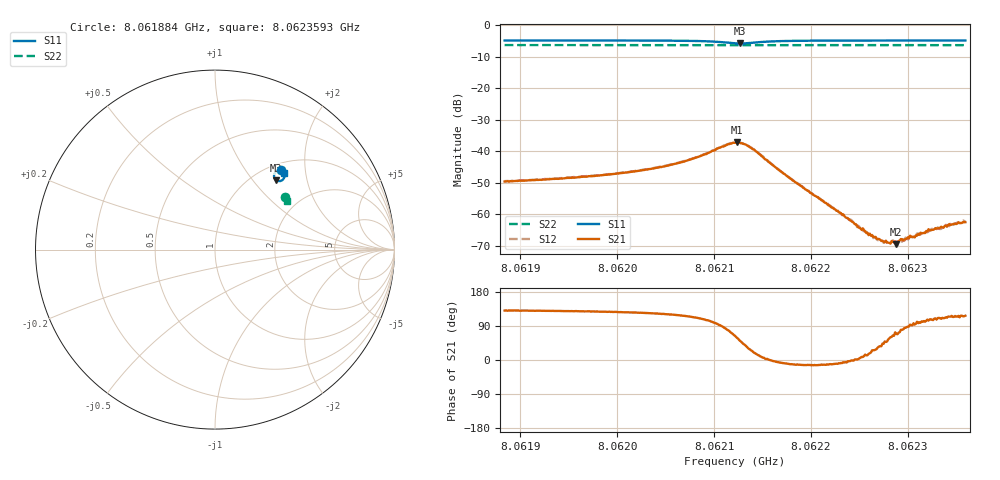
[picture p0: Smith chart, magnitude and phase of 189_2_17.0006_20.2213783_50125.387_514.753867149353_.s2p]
#  HZ  S  RI  R  50.00
! Rohde & Schwarz Vector Network Analyzer
! Rohde-Schwarz,ZNB20-2Port,1311601062101988,3.16
! Created: UTC 3/20/2024, 11:00:34 PM
! freq[Hz]  re:S11  im:S11  re:S21  im:S21  re:S12  im:S12  re:S22  im:S22
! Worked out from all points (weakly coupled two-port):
!   401 points, 8.061884 GHz to 8.0623593 GHz, reference 50 ohm
!   highest |S21| = -37.19 dB at 8.062124 GHz (marker M1); lowest = -69.5 dB at 8.062288 GHz (marker M2)
!   lowest |S11| = -5.8 dB at 8.0621264 GHz (marker M3), VSWR 3.13, Z = 62.8 + j66.2 ohm
!   |S11| at or under -10 dB: nowhere
!   |S22| runs from -6.3 to -6.3 dB; largest |S21 - S12| = 0.001
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8.06188398e9  0.3688 0.442  -0.00215 0.00252  -0.00205 0.00268  0.3874 0.294
8.06196359e9  0.3753 0.4361  -0.00244 0.00308  -0.00229 0.00329  0.39 0.2901
8.06199567e9  0.3781 0.433  -0.00259 0.00347  -0.00245 0.00362  0.3912 0.2886
8.0620432e9  0.3831 0.4256  -0.00295 0.0047  -0.00272 0.00495  0.3929 0.286
8.06207647e9  0.3866 0.4145  -0.00302 0.00683  -0.00266 0.00707  0.3939 0.2836
8.06211212e9  0.3713 0.3849  0.00154 0.0123  0.00232 0.0124  0.3937 0.281
8.06212162e9  0.3515 0.3823  0.006 0.0122  0.007 0.0119  0.3933 0.2808
8.062124e9  0.3458 0.3841  0.00733 0.0117  0.00812 0.0112  0.3931 0.2809
8.06212637e9  0.3405 0.3871  0.00849 0.0107  0.00917 0.0103  0.3929 0.281
8.0621335e9  0.3303 0.4015  0.0102 0.00727  0.0107 0.0066  0.3929 0.2815
8.06214063e9  0.3296 0.4169  0.01 0.00377  0.0103 0.00319  0.3935 0.2817
8.06217034e9  0.3528 0.4389  0.00457 -0.00064  0.00452 -0.000911  0.3957 0.2812
8.06220123e9  0.3658 0.4385  0.00204 -0.000485  0.00203 -0.000628  0.3972 0.2794
8.06225946e9  0.3765 0.4341  0.000447 0.000129  0.000464 9.35e-05  0.3993 0.2763
8.06226658e9  0.3774 0.4335  0.000388 0.000199  0.000384 0.000184  0.3996 0.276
8.06228084e9  0.3791 0.4325  0.000188 0.000295  0.000212 0.000276  0.4001 0.2752
8.0622856e9  0.3795 0.4321  0.000157 0.000318  0.000188 0.000319  0.4003 0.275
8.06228797e9  0.3799 0.4321  0.00012 0.000314  0.000154 0.000335  0.4004 0.2748
8.06232481e9  0.3832 0.4295  -0.000156 0.000542  -0.000152 0.000567  0.4017 0.273
8.06233431e9  0.384 0.4289  -0.000202 0.000599  -0.000173 0.000558  0.402 0.2725
8.06234263e9  0.3846 0.4286  -0.00029 0.000634  -0.000218 0.000607  0.4022 0.272
8.06235927e9  0.386 0.4275  -0.000337 0.000667  -0.000335 0.000683  0.4027 0.2711
